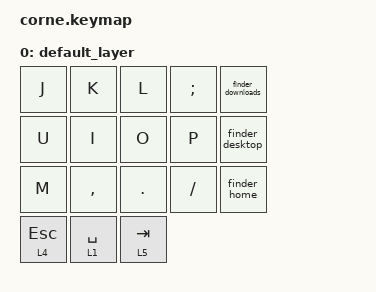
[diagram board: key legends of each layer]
/*
 * SPDX-License-Identifier: MIT
 */

#include <behaviors.dtsi>
#include <dt-bindings/zmk/keys.h>
#include "five_column_transform.dtsi"

/ {
    // Macro Behavior Definitions
    macros {
        finder_home: finder_home {
            compatible = "zmk,behavior-macro";
            #binding-cells = <0>;
            wait-ms = <40>;
            tap-ms = <40>;
            bindings = <
                &macro_press &kp LGUI
                &macro_press &kp LSHFT
                &macro_tap   &kp H
                &macro_release &kp LGUI
                &macro_release &kp LSHFT
            >;
        };
        finder_desktop: finder_desktop {
            compatible = "zmk,behavior-macro";
            #binding-cells = <0>;
            wait-ms = <40>;
            tap-ms = <40>;
            bindings = <
                &macro_press &kp LGUI
                &macro_press &kp LSHFT
                &macro_tap   &kp D
                &macro_release &kp LGUI
                &macro_release &kp LSHFT
            >;
        };
        finder_downloads: finder_downloads {
            compatible = "zmk,behavior-macro";
            #binding-cells = <0>;
            wait-ms = <40>;
            tap-ms = <40>;
            bindings = <
                &macro_press &kp LGUI
                &macro_press &kp LALT
                &macro_tap   &kp L
                &macro_release &kp LGUI
                &macro_release &kp LALT
            >;
        };
    };

    keymap {
        compatible = "zmk,keymap";

        default_layer {
            bindings = <
                /* Top row (right half) */
                &kp J         &kp K         &kp L         &kp SCLN      &finder_downloads

                /* Middle row */
                &kp U         &kp I         &kp O         &kp P         &finder_desktop

                /* Bottom row */
                &kp M         &kp COMMA     &kp DOT       &kp FSLH      &finder_home

                /* Thumb cluster (adjust as needed) */
                &lt 4 ESC     &lt 1 SPACE    &lt 5 TAB 
            >;
        };
    };
};
